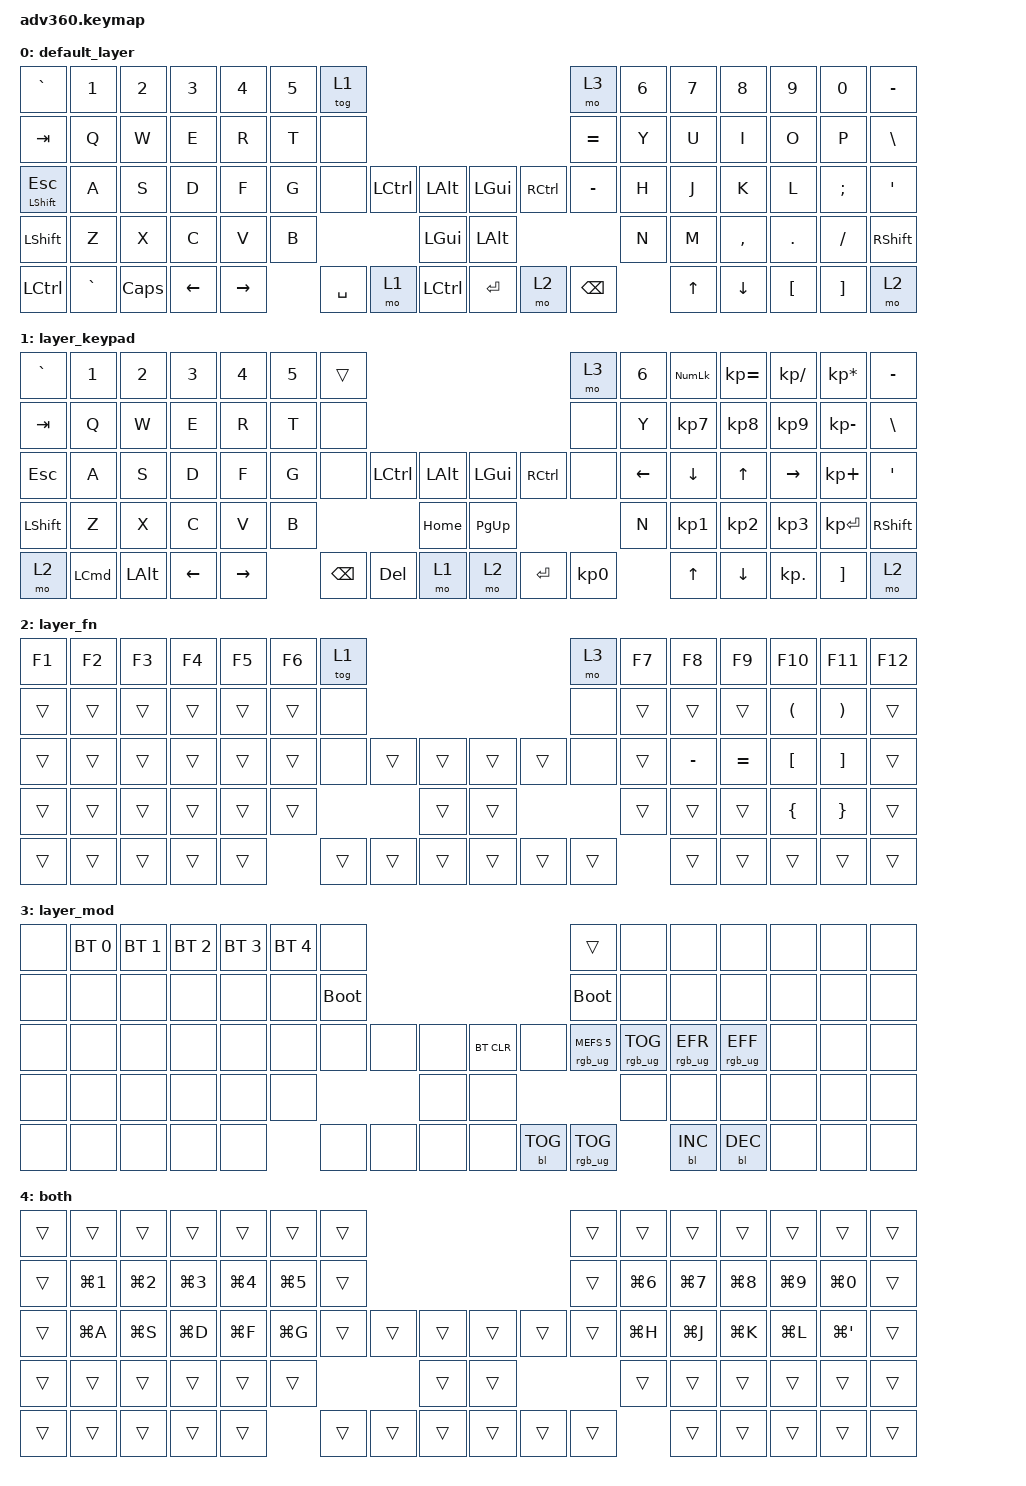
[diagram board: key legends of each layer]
/*
 * Copyright (c) 2020 The ZMK Contributors
 *
 * SPDX-License-Identifier: MIT
 */
/* THIS FILE WAS GENERATED!
 *
 * This file was generated automatically. You may or may not want to
 * edit it directly.
 */

#include <behaviors.dtsi>
#include <dt-bindings/zmk/backlight.h>
#include <dt-bindings/zmk/bt.h>
#include <dt-bindings/zmk/keys.h>
#include <dt-bindings/zmk/rgb.h>

/ {
    behaviors {
        #include "macros.dtsi"
    #include "version.dtsi"

        hm: homerow_mods {
            compatible = "zmk,behavior-hold-tap";
            label = "HOMEROW_MODS";
            #binding-cells = <2>;
            tapping-term-ms = <200>;
            quick_tap_ms = <175>;
            flavor = "tap-preferred";
            bindings = <&kp>, <&kp>;
        };
    };

    keymap {
        compatible = "zmk,keymap";

        default_layer {
            bindings = <
&kp GRAVE           &kp N1     &kp N2    &kp N3    &kp N4     &kp N5  &tog 1                                                        &mo 3          &kp N6  &kp N7  &kp N8     &kp N9    &kp N0    &kp MINUS
&kp TAB             &kp Q      &kp W     &kp E     &kp R      &kp T   &none                                                         &kp EQUAL      &kp Y   &kp U   &kp I      &kp O     &kp P     &kp BSLH
&mt LEFT_SHIFT ESC  &kp A      &kp S     &kp D     &kp F      &kp G   &none      &kp LCTRL  &kp LALT       &kp LGUI      &kp RCTRL  &kp MINUS      &kp H   &kp J   &kp K      &kp L     &kp SEMI  &kp SQT
&kp LSHFT           &kp Z      &kp X     &kp C     &kp V      &kp B                         &kp LGUI       &kp LEFT_ALT                            &kp N   &kp M   &kp COMMA  &kp DOT   &kp FSLH  &kp RSHFT
&kp LCTRL           &kp GRAVE  &kp CAPS  &kp LEFT  &kp RIGHT          &kp SPACE  &mo 1      &kp LCTRL      &kp ENTER     &mo 2      &kp BACKSPACE          &kp UP  &kp DOWN   &kp LBKT  &kp RBKT  &mo 2
            >;
        };

        layer_keypad {
            bindings = <
&kp GRAVE  &kp N1            &kp N2        &kp N3    &kp N4     &kp N5  &trans                                                   &mo 3      &kp N6          &kp KP_NUM      &kp KP_EQUAL  &kp KP_DIVIDE    &kp KP_MULTIPLY  &kp MINUS
&kp TAB    &kp Q             &kp W         &kp E     &kp R      &kp T   &none                                                    &none      &kp Y           &kp KP_N7       &kp KP_N8     &kp KP_N9        &kp KP_MINUS     &kp BSLH
&kp ESC    &kp A             &kp S         &kp D     &kp F      &kp G   &none     &kp LCTRL  &kp LALT      &kp LGUI   &kp RCTRL  &none      &kp LEFT_ARROW  &kp DOWN_ARROW  &kp UP_ARROW  &kp RIGHT_ARROW  &kp KP_PLUS      &kp SQT
&kp LSHFT  &kp Z             &kp X         &kp C     &kp V      &kp B                        &kp HOME      &kp PG_UP                        &kp N           &kp KP_N1       &kp KP_N2     &kp KP_N3        &kp KP_ENTER     &kp RSHFT
&mo 2      &kp LEFT_COMMAND  &kp LEFT_ALT  &kp LEFT  &kp RIGHT          &kp BSPC  &kp DEL    &mo 1         &mo 2      &kp ENTER  &kp KP_N0                  &kp UP          &kp DOWN      &kp KP_DOT       &kp RBKT         &mo 2
            >;
        };

        layer_fn {
            bindings = <
&kp F1  &kp F2  &kp F3  &kp F4  &kp F5  &kp F6  &tog 1                                      &mo 3   &kp F7  &kp F8     &kp F9     &kp F10               &kp F11                &kp F12
&trans  &trans  &trans  &trans  &trans  &trans  &none                                       &none   &trans  &trans     &trans     &kp LEFT_PARENTHESIS  &kp RIGHT_PARENTHESIS  &trans
&trans  &trans  &trans  &trans  &trans  &trans  &none   &trans  &trans      &trans  &trans  &none   &trans  &kp MINUS  &kp EQUAL  &kp LEFT_BRACKET      &kp RIGHT_BRACKET      &trans
&trans  &trans  &trans  &trans  &trans  &trans                  &trans      &trans                  &trans  &trans     &trans     &kp LEFT_BRACE        &kp RIGHT_BRACE        &trans
&trans  &trans  &trans  &trans  &trans          &trans  &trans  &trans      &trans  &trans  &trans          &trans     &trans     &trans                &trans                 &trans
            >;
        };

        layer_mod {
            bindings = <
&none  &bt BT_SEL 0  &bt BT_SEL 1  &bt BT_SEL 2  &bt BT_SEL 3  &bt BT_SEL 4  &none                                                  &trans                  &none            &none            &none            &none  &none  &none
&none  &none         &none         &none         &none         &none         &bootloader                                            &bootloader             &none            &none            &none            &none  &none  &none
&none  &none         &none         &none         &none         &none         &none        &none  &none      &bt BT_CLR  &none       &rgb_ug RGB_MEFS_CMD 5  &rgb_ug RGB_TOG  &rgb_ug RGB_EFR  &rgb_ug RGB_EFF  &none  &none  &none
&none  &none         &none         &none         &none         &none                             &none      &none                                           &none            &none            &none            &none  &none  &none
&none  &none         &none         &none         &none                       &none        &none  &none      &none       &bl BL_TOG  &rgb_ug RGB_TOG                          &bl BL_INC       &bl BL_DEC       &none  &none  &none
            >;
        };

        both {
            bindings = <
&trans  &trans            &trans            &trans      &trans      &trans      &trans                                      &trans  &trans      &trans      &trans      &trans      &trans       &trans
&trans  &kp LG(NUMBER_1)  &kp LG(NUMBER_2)  &kp LG(N3)  &kp LG(N4)  &kp LG(N5)  &trans                                      &trans  &kp LG(N6)  &kp LG(N7)  &kp LG(N8)  &kp LG(N9)  &kp LG(N0)   &trans
&trans  &kp LG(A)         &kp LG(S)         &kp LG(D)   &kp LG(F)   &kp LG(G)   &trans  &trans  &trans      &trans  &trans  &trans  &kp LG(H)   &kp LG(J)   &kp LG(K)   &kp LG(L)   &kp LG(SQT)  &trans
&trans  &trans            &trans            &trans      &trans      &trans                      &trans      &trans                  &trans      &trans      &trans      &trans      &trans       &trans
&trans  &trans            &trans            &trans      &trans                  &trans  &trans  &trans      &trans  &trans  &trans              &trans      &trans      &trans      &trans       &trans
            >;
        };
    };

    conditional_layers {
        compatible = "zmk,conditional-layers";

        if-both-select-4 {
            if-layers = <1 2>;
            then-layer = <4>;
        };
    };
};
